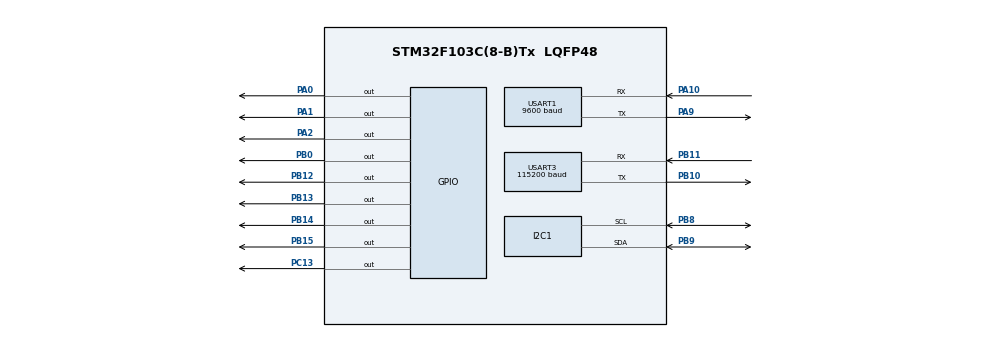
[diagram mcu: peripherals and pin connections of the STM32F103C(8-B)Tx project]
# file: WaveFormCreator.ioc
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Dma.Request0=USART1_RX
Dma.Request1=USART1_TX
Dma.USART1_RX.0.Direction=DMA_PERIPH_TO_MEMORY
Dma.USART1_RX.0.Instance=DMA1_Channel5
Dma.USART1_RX.0.MemDataAlignment=DMA_MDATAALIGN_BYTE
Dma.USART1_RX.0.MemInc=DMA_MINC_ENABLE
Dma.USART1_RX.0.Mode=DMA_CIRCULAR
Dma.USART1_RX.0.PeriphDataAlignment=DMA_PDATAALIGN_BYTE
Dma.USART1_RX.0.PeriphInc=DMA_PINC_DISABLE
Dma.USART1_RX.0.Priority=DMA_PRIORITY_MEDIUM
Dma.USART1_TX.1.Direction=DMA_MEMORY_TO_PERIPH
Dma.USART1_TX.1.Instance=DMA1_Channel4
Dma.USART1_TX.1.MemDataAlignment=DMA_MDATAALIGN_BYTE
Dma.USART1_TX.1.MemInc=DMA_MINC_ENABLE
Dma.USART1_TX.1.Mode=DMA_NORMAL
Dma.USART1_TX.1.PeriphDataAlignment=DMA_PDATAALIGN_BYTE
Dma.USART1_TX.1.PeriphInc=DMA_PINC_DISABLE
Dma.USART1_TX.1.Priority=DMA_PRIORITY_MEDIUM
I2C1.I2C_Mode=I2C_Fast
Mcu.Family=STM32F1
Mcu.Name=STM32F103C(8-B)Tx
Mcu.Package=LQFP48
NVIC.DMA1_Channel4_IRQn=true\:0\:0\:false\:false\:true\:false\:true\:true
NVIC.DMA1_Channel5_IRQn=true\:0\:0\:false\:false\:true\:false\:true\:true
NVIC.PriorityGroup=NVIC_PRIORITYGROUP_4
NVIC.USART1_IRQn=true\:0\:0\:true\:false\:true\:true\:true\:true
NVIC.USART3_IRQn=true\:2\:0\:true\:false\:true\:true\:true\:true
PA0-WKUP.PinState=GPIO_PIN_SET
PA0-WKUP.Signal=GPIO_Output
PA1.Signal=GPIO_Output
PA10.Mode=Asynchronous
PA10.Signal=USART1_RX
PA13.Mode=Serial_Wire
PA13.Signal=SYS_JTMS-SWDIO
PA14.Mode=Serial_Wire
PA14.Signal=SYS_JTCK-SWCLK
PA2.Signal=GPIO_Output
PA9.Mode=Asynchronous
PA9.Signal=USART1_TX
PB0.PinState=GPIO_PIN_SET
PB0.Signal=GPIO_Output
PB10.Mode=Asynchronous
PB10.Signal=USART3_TX
PB11.Mode=Asynchronous
PB11.Signal=USART3_RX
PB12.PinState=GPIO_PIN_SET
PB12.Signal=GPIO_Output
PB13.Signal=GPIO_Output
PB14.Signal=GPIO_Output
PB15.Signal=GPIO_Output
PB8.Mode=I2C
PB8.Signal=I2C1_SCL
PB9.Mode=I2C
PB9.Signal=I2C1_SDA
PC13-TAMPER-RTC.Signal=GPIO_Output
PC14-OSC32_IN.Mode=LSE-External-Oscillator
PC14-OSC32_IN.Signal=RCC_OSC32_IN
PC15-OSC32_OUT.Mode=LSE-External-Oscillator
PC15-OSC32_OUT.Signal=RCC_OSC32_OUT
PD0-OSC_IN.Mode=HSE-External-Oscillator
PD0-OSC_IN.Signal=RCC_OSC_IN
PD1-OSC_OUT.Mode=HSE-External-Oscillator
PD1-OSC_OUT.Signal=RCC_OSC_OUT
ProjectManager.HeapSize=0x200
ProjectManager.StackSize=0x400
ProjectManager.TargetToolchain=STM32CubeIDE
RCC.APB1Freq_Value=8000000
RCC.APB2Freq_Value=8000000
USART1.BaudRate=9600
USART1.VirtualMode=VM_ASYNC
USART3.BaudRate=115200
USART3.VirtualMode=VM_ASYNC
board=custom

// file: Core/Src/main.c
/* USER CODE BEGIN Header */
/**
  ******************************************************************************
  * @file           : main.c
  * @brief          : Main program body
  ******************************************************************************
  * @attention
  *
  * Copyright (c) 2024 STMicroelectronics.
  * All rights reserved.
  *
  * This software is licensed under terms that can be found in the LICENSE file
  * in the root directory of this software component.
  * If no LICENSE file comes with this software, it is provided AS-IS.
  *
  ******************************************************************************
  */
/* USER CODE END Header */
#include "main.h"
#include "dma.h"
#include "i2c.h"
#include "usart.h"
#include "gpio.h"

/* USER CODE BEGIN Includes */
#include "oled.h"
#include "ad9833.h"

#include <string.h>
#include <stdio.h>
#include "stdint.h"
#include "stm32f1xx_hal_tim.h"

/* USER CODE END Includes */

/* USER CODE BEGIN PV */
uint8_t Rx_buff[100];
uint32_t Rx_Length;
/* USER CODE END PV */

void SystemClock_Config(void);

/* USER CODE BEGIN 0 */
#ifdef __GNUC__
#define PUTCHAR_PROTOTYPE int __io_putchar(int ch)
#else
#define PUTCHAR_PROTOTYPE int fputc(int ch, FILE *f)
#endif

PUTCHAR_PROTOTYPE
{
    HAL_UART_Transmit(&huart3,(uint8_t *)&ch,1,0xFFFF);//阻塞方式打印
    return ch;
}

//----------显示波形数据
void OLED_ShowWaveParam(unsigned int WaveMode, unsigned char amp, double Freq, unsigned int Phase) {
    //扬声器发声
    //HAL_GPIO_TogglePin(GPIOA,GPIO_PIN_0);
    //HAL_GPIO_WritePin(GPIOA, GPIO_PIN_0, GPIO_PIN_RESET);

    //HAL_GPIO_WritePin(GPIOA, GPIO_PIN_0, GPIO_PIN_SET);

    char buffer[20];

    OLED_CLS();
    OLED_ShowStr(0, 0, "WaveFormCreator", 1);

    // Display WaveMode
    switch (WaveMode) {
        case SIN_WAVE:
            OLED_ShowStr(0, 1, "WaveMode: Sine", 1);
            break;
        case TRI_WAVE:
            OLED_ShowStr(0, 1, "WaveMode: Tri", 1);
            break;
        case SQU_WAVE:
            OLED_ShowStr(0, 1, "WaveMode: Squ", 1);
            break;
        default:
            OLED_ShowStr(0, 1, "WaveMode: Unknown", 1);
            break;
    }

    // Display amplitude in mV
    snprintf(buffer, sizeof(buffer), "amp = %umV", amp);
    OLED_ShowStr(0, 2, buffer, 1);

    // Display frequency in kHz or Hz
    if (Freq >= 1000) {
        snprintf(buffer, sizeof(buffer), "Freq = %.3f kHz", Freq / 1000.0);
    } else {
        snprintf(buffer, sizeof(buffer), "Freq = %.1f Hz", Freq);
    }
    OLED_ShowStr(0, 3, buffer, 1);

    // Display phase in degrees
    snprintf(buffer, sizeof(buffer), "Phase = %u deg", Phase);
    OLED_ShowStr(0, 4, buffer, 1);

}
//-----

/* USER CODE END 0 */

int main(void)
{

  /* MCU Configuration--------------------------------------------------------*/

  /* Reset of all peripherals, Initializes the Flash interface and the Systick. */
  HAL_Init();

  /* Configure the system clock */
  SystemClock_Config();

  /* Initialize all configured peripherals */
  MX_GPIO_Init();
  MX_DMA_Init();
  MX_I2C1_Init();
  MX_USART1_UART_Init();
  MX_USART3_UART_Init();
  /* USER CODE BEGIN 2 */
    OLED_Init();
    OLED_CLS();
    AD9833_WaveSeting(1000,0,SIN_WAVE,0);
    AD9833_AmpSet(0);
    //中断使能
    __HAL_UART_ENABLE_IT(&huart1,UART_IT_IDLE);// 中断使能
    HAL_UART_Receive_DMA(&huart1,(uint8_t*)Rx_buff,100);//设置中断
    OLED_ShowStr(0,0,"WaveFormCreator",1);
    OLED_ShowStr(0,1,"Waiting for signal.",1);
  /* USER CODE END 2 */

  /* Infinite loop */
  /* USER CODE BEGIN WHILE */
  while (1)
  {

//      HAL_UART_Transmit(&huart3,"This is uart3.\r\n",20,1000);
//      HAL_UART_Transmit(&huart1,"This is uart1.\r\n",20,1000);
      printf("Waiting for signal.\r\n");//注意这里输出的时候需要加上\r\n，不然无法输�???????
      HAL_GPIO_TogglePin(GPIOC,GPIO_PIN_13);
      /*
      OLED_ShowCN(0,0,0);
      OLED_ShowCN(16,0,1);
      OLED_ShowCN(32,0,2);
      OLED_ShowCN(48,0,3);
      OLED_ShowCN(64,0,4);
      OLED_ShowCN(80,0,5);
      OLED_ShowCN(96,0,6);
      OLED_ShowCN(112,0,7);
      */
      HAL_Delay(500);
      // Parameters     : x,y -- 起始点坐(x:0~127, y:0~7); ch[] -- 要显示的字符; TextSize -- 字符大小(1:6*8 ; 2:8*16)

      //OLED_ShowWaveParam(SIN_WAVE,100,100.2,0);
    /* USER CODE END WHILE */

  }
}

void SystemClock_Config(void)
{
  RCC_OscInitTypeDef RCC_OscInitStruct = {0};
  RCC_ClkInitTypeDef RCC_ClkInitStruct = {0};

  /** Initializes the RCC Oscillators according to the specified parameters
  * in the RCC_OscInitTypeDef structure.
  */
  RCC_OscInitStruct.OscillatorType = RCC_OSCILLATORTYPE_HSI;
  RCC_OscInitStruct.HSIState = RCC_HSI_ON;
  RCC_OscInitStruct.HSICalibrationValue = RCC_HSICALIBRATION_DEFAULT;
  RCC_OscInitStruct.PLL.PLLState = RCC_PLL_NONE;
  if (HAL_RCC_OscConfig(&RCC_OscInitStruct) != HAL_OK)
  {
    Error_Handler();
  }

  /** Initializes the CPU, AHB and APB buses clocks
  */
  RCC_ClkInitStruct.ClockType = RCC_CLOCKTYPE_HCLK|RCC_CLOCKTYPE_SYSCLK
                              |RCC_CLOCKTYPE_PCLK1|RCC_CLOCKTYPE_PCLK2;
  RCC_ClkInitStruct.SYSCLKSource = RCC_SYSCLKSOURCE_HSI;
  RCC_ClkInitStruct.AHBCLKDivider = RCC_SYSCLK_DIV1;
  RCC_ClkInitStruct.APB1CLKDivider = RCC_HCLK_DIV1;
  RCC_ClkInitStruct.APB2CLKDivider = RCC_HCLK_DIV1;

  if (HAL_RCC_ClockConfig(&RCC_ClkInitStruct, FLASH_LATENCY_0) != HAL_OK)
  {
    Error_Handler();
  }
}

void Error_Handler(void)
{
  /* USER CODE BEGIN Error_Handler_Debug */
  /* User can add his own implementation to report the HAL error return state */
  __disable_irq();
  while (1)
  {
      HAL_GPIO_TogglePin(GPIOA,GPIO_PIN_2);
      HAL_Delay(1000);
  }
  /* USER CODE END Error_Handler_Debug */
}
